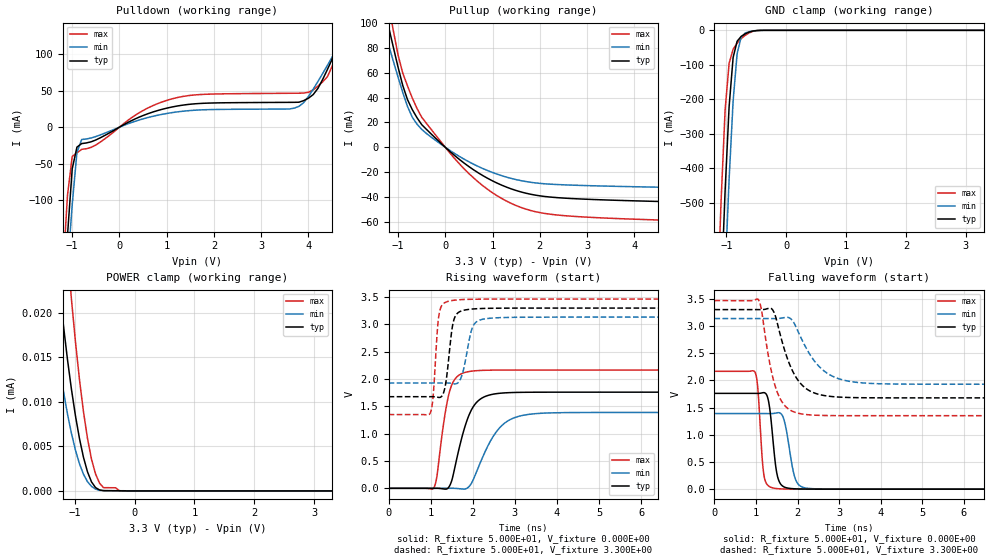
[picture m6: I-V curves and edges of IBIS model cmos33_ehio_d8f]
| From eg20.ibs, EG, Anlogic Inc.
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|   Model cmos33_ehio_d8f
[Model] cmos33_ehio_d8f
Model_type I/O
Enable   Active-Low
Vinl =  8.000E-01
Vinh =  2.000E+00
Vmeas =  1.650E+00
C_comp   4.500E-12   4.200E-12   4.800E-12
[Temperature Range]   2.500E+01   8.500E+01   -4.000E+01
[Voltage Range]   3.300E+00   3.135E+00   3.465E+00
[POWER Clamp Reference]   3.300E+00   3.135E+00   3.465E+00
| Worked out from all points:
|   slope of the pulldown table from 0 to 0.495 V, typ, clamps not added: 31.2 ohm
|   slope of the pullup table from 0 to 0.495 V, typ, clamps not added: 32.2 ohm
|   GND clamp passes 1 mA (typ) near -0.51 V on its own axis
|   rising waveform, R_fixture 5.000E+01, V_fixture 0.000E+00: 20-80 % time 385ps typ, 566ps min, 252ps max; typ from 0 V to 1.76 V
|   rising waveform, R_fixture 5.000E+01, V_fixture 3.300E+00: 20-80 % time 147ps typ, 191ps min, 108ps max; typ from 1.68 V to 3.3 V
|   falling waveform, R_fixture 5.000E+01, V_fixture 0.000E+00: 20-80 % time 145ps typ, 188ps min, 108ps max; typ from 1.76 V to 0 V
|   falling waveform, R_fixture 5.000E+01, V_fixture 3.300E+00: 20-80 % time 473ps typ, 628ps min, 336ps max; typ from 3.3 V to 1.68 V
[Pulldown]
|Voltage   I(typ)   I(min)   I(max)
-3.3V     -2.275A    -2.123A    -2.459A
-1.2V     -245.5mA   -282.7mA   -200.6mA
-1.1V     -148.6mA   -195mA     -93.48mA
-1V       -57.16mA   -106.3mA   -40.24mA
-900mV    -27.44mA   -34.71mA   -35.37mA
-800mV    -22.61mA   -17.02mA   -30.5mA
1.1V      27.53mA    19.84mA    38.68mA
3.7V      34.12mA    26.17mA    46.61mA
4.1V      44.74mA    52.14mA    51.18mA
4.4V      79.09mA    84.84mA    69.18mA
4.9V      151.4mA    142.2mA    158.5mA
6.6V      389.5mA    331.4mA    463.7mA
[Pullup]
|Voltage   I(typ)   I(min)   I(max)
-3.3V     414.9mA    338.3mA    507.6mA
-1.3V     113.5mA    95.44mA    135.9mA
-1.2V     96.93mA    82.28mA    114.7mA
-1.1V     80.5mA     69.24mA    93.81mA
-1V       64.47mA    56.44mA    74.2mA
-800mV    38.35mA    32.84mA    49.38mA
-500mV    18.27mA    14.47mA    24.23mA
500mV     -15.51mA   -11.65mA   -21.11mA
1V        -27.01mA   -20.26mA   -36.58mA
1.5V      -34.74mA   -25.98mA   -46.86mA
2.5V      -40.81mA   -30.15mA   -54.9mA
6.6V      -47.43mA   -34.97mA   -64.01mA
[GND_clamp]
|Voltage   I(typ)   I(min)   I(max)
-3.3V     -13.27A    -13.19A    -13.36A
-1.156V   -1.094A    -1.337A    -819.5mA
-1.089V   -767.1mA   -1.018A    -495.5mA
-1.022V   -466.7mA   -711mA     -232.4mA
-955mV    -221.7mA   -432.2mA   -95.74mA
-888mV    -78.86mA   -205.2mA   -54.97mA
-821mV    -31.69mA   -67.5mA    -37.18mA
-754mV    -17.67mA   -19.97mA   -24.38mA
-687mV    -10.19mA   -8.141mA   -14.58mA
-553mV    -2.019mA   -1.503mA   -2.763mA
-419mV    -87.67uA   -92.52uA   -70.16uA
3.3V      0A         0A         0A
[POWER_clamp]
|Voltage   I(typ)   I(min)   I(max)
-3.3V     274.8uA    208uA      379uA
-1.457V   37.35uA    24.22uA    60.83uA
-1.39V    32.14uA    20.55uA    53.14uA
-1.256V   22.74uA    14.02uA    39.05uA
-1.055V   11.4uA     6.455uA    21.51uA
-921mV    5.875uA    3.046uA    12.51uA
-854mV    3.77uA     1.871uA    8.882uA
-720mV    1.016uA    508.4nA    3.563uA
-653mV    378.7nA    211.4nA    1.919uA
-519mV    33.74nA    28.05nA    366.5nA
-251mV    15.63nA    21.96nA    13.64nA
3.3V      0A         0A         0A
[Ramp]
| variable   typ   min   max
dV/dt_r   1.056E+00/3.874E-10   8.335E-01/5.677E-10   1.300E+00/2.539E-10
dV/dt_f   9.736E-01/4.742E-10   7.242E-01/6.346E-10   1.269E+00/3.372E-10
R_load = 5.000E+01
[Rising Waveform]
R_fixture= 5.000E+01
V_fixture= 0.000E+00
V_fixture_min= 0.000E+00
V_fixture_max= 0.000E+00
|time   V(typ)   V(min)   V(max)
0s        0V         0V         0V
1.068ns   234.9uV    0V         2.52mV
1.147ns   898.4uV    2.12uV     216.9mV
1.316ns   -12.28mV   -25.89uV   1.237V
1.445ns   39.24mV    435.1uV    1.764V
1.829ns   1.168V     -9.931mV   2.125V
2.115ns   1.593V     351.6mV    2.155V
2.58ns    1.735V     1.055V     2.165V
3.199ns   1.758V     1.338V     2.166V
10ns      1.76V      1.389V     2.166V
[Rising Waveform]
R_fixture= 5.000E+01
V_fixture= 3.300E+00
V_fixture_min= 3.135E+00
V_fixture_max= 3.465E+00
|time   V(typ)   V(min)   V(max)
0s        1.677V     1.928V     1.35V
990ps     1.678V     1.928V     1.381V
1.058ns   1.678V     1.928V     1.69V
1.196ns   1.664V     1.928V     3.174V
1.32ns    1.787V     1.928V     3.392V
1.42ns    2.32V      1.928V     3.424V
1.601ns   3.174V     1.914V     3.448V
1.999ns   3.283V     2.957V     3.461V
2.3ns     3.294V     3.104V     3.464V
10ns      3.3V       3.135V     3.465V
[Falling Waveform]
R_fixture= 5.000E+01
V_fixture= 0.000E+00
V_fixture_min= 0.000E+00
V_fixture_max= 0.000E+00
|time   V(typ)   V(min)   V(max)
0s        1.76V      1.389V     2.166V
984ps     1.76V      1.389V     2.138V
1.045ns   1.76V      1.389V     1.843V
1.184ns   1.774V     1.389V     295.1mV
1.298ns   1.63V      1.389V     61.73mV
1.387ns   1.08V      1.389V     26.67mV
1.577ns   113.1mV    1.4V       6.506mV
1.941ns   6.717mV    201.7mV    796.1uV
2.191ns   2.158mV    21.55mV    219.8uV
10ns      0V         706.2nV    0V
[Falling Waveform]
R_fixture= 5.000E+01
V_fixture= 3.300E+00
V_fixture_min= 3.135E+00
V_fixture_max= 3.465E+00
|time   V(typ)   V(min)   V(max)
0s        3.3V       3.135V     3.465V
1.055ns   3.3V       3.135V     3.484V
1.135ns   3.299V     3.135V     3.28V
1.367ns   3.32V      3.135V     2.18V
1.485ns   3.135V     3.134V     1.84V
1.728ns   2.462V     3.157V     1.508V
1.978ns   2.039V     2.956V     1.403V
2.521ns   1.74V      2.253V     1.357V
3.241ns   1.685V     1.982V     1.351V
10ns      1.677V     1.928V     1.35V
